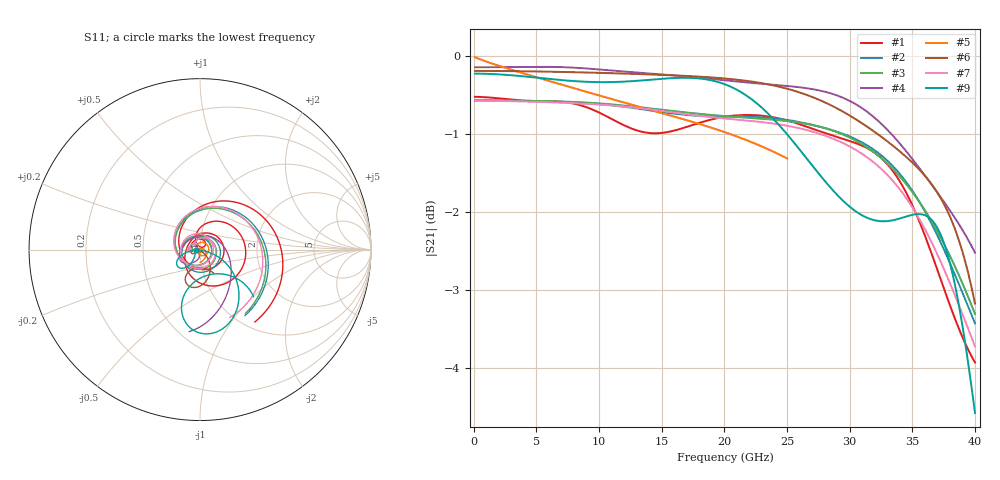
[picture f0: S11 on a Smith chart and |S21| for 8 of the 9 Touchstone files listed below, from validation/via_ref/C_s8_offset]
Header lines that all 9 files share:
# Hz S RI R 50
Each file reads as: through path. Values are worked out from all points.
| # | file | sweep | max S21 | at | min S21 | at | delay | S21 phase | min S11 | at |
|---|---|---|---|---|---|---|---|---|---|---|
| 1 | cst.s2p | 100 MHz to 40 GHz | -0.53 dB | 200 MHz | -3.9 dB | 40 GHz | 61.1 ps | -68 deg at 20.1 GHz | -36.4 dB | 6 GHz |
| 2 | cst_fine.s2p | 100 MHz to 40 GHz | -0.57 dB | 200 MHz | -3.4 dB | 40 GHz | 61.5 ps | -72 deg at 20.1 GHz | -30.8 dB | 5.9 GHz |
| 3 | kisi.s2p | 100 MHz to 40 GHz | -0.57 dB | 100 MHz | -3.3 dB | 40 GHz | 61.6 ps | -72 deg at 20.1 GHz | -32.6 dB | 6.8 GHz |
| 4 | kisi_deembedded.s2p | 100 MHz to 40 GHz | -0.14 dB | 5.4 GHz | -2.5 dB | 40 GHz | 14.8 ps | -96 deg at 20.1 GHz | -36.0 dB | 1.8 GHz |
| 5 | kisi_model.s2p | 100 MHz to 25 GHz | -0.02 dB | 100 MHz | -1.3 dB | 25 GHz | 59 ps | 95 deg at 12.6 GHz | -57.1 dB | 100 MHz |
| 6 | ladder.s2p | 100 MHz to 40 GHz | -0.19 dB | 100 MHz | -3.2 dB | 40 GHz | 17.1 ps | -97 deg at 20.1 GHz | -43.8 dB | 21.1 GHz |
| 7 | openems.s2p | 100 MHz to 40 GHz | -0.57 dB | 100 MHz | -3.7 dB | 40 GHz | 62.2 ps | -76 deg at 20.1 GHz | -33.1 dB | 6.4 GHz |
| 8 | openems_base.s2p | 100 MHz to 40 GHz | -0.58 dB | 100 MHz | -4.3 dB | 40 GHz | 62.7 ps | -78 deg at 20.1 GHz | -31.6 dB | 6.4 GHz |
| 9 | pbm.s2p | 100 MHz to 40 GHz | -0.23 dB | 100 MHz | -4.6 dB | 40 GHz | 17.5 ps | -100 deg at 20.1 GHz | -45.4 dB | 18.1 GHz |
